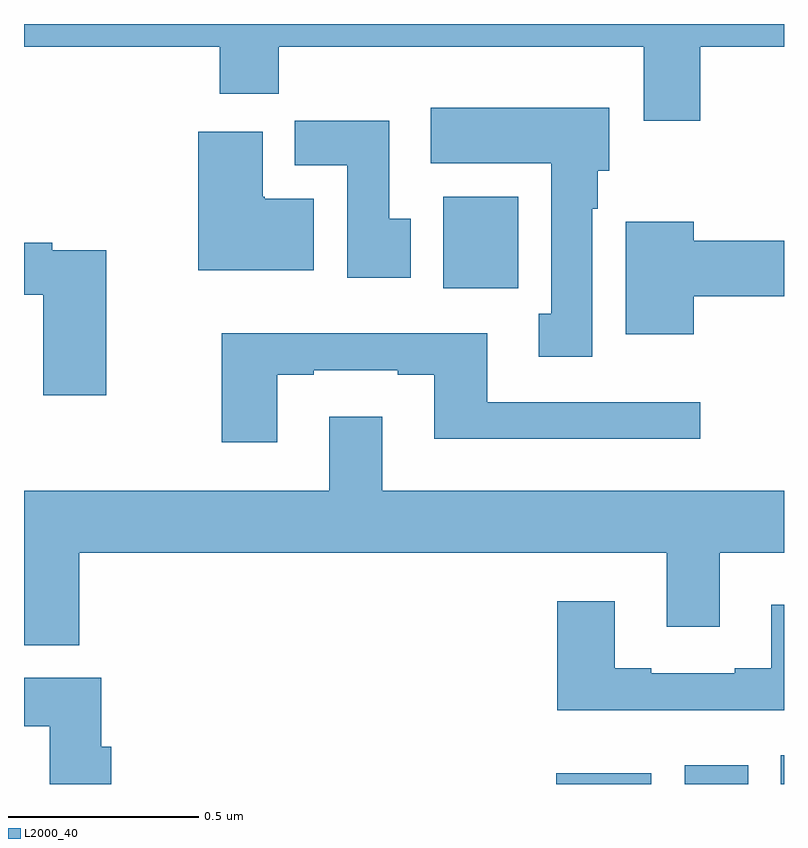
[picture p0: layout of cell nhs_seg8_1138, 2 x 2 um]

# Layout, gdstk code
import gdstk
lib = gdstk.Library(unit=1e-6, precision=1e-09)
def R(c, l, rs):  # rectangles x0, y0, x1, y1
    for r in rs: c.add(gdstk.rectangle(r[:2], r[2:], *l))
def P(c, l, *ps):  # polygons
    for p in ps: c.add(gdstk.Polygon(p, *l))
L2000_40 = (2000, 40)

nhs_seg8_1138 = lib.new_cell('nhs_seg8_1138')
R(nhs_seg8_1138, L2000_40, [(127.4,1107.9,127.651,1107.928), (127.739,1107.9,127.906,1107.949), (127.991,1107.9,128,1107.976), (127.103,1109.204,127.3,1109.446)])
P(nhs_seg8_1138, L2000_40, [(127.779,1109.84),(128,1109.84),(128,1109.9),(126,1109.9),(126,1109.84),(126.515,1109.84),(126.515,1109.716),(126.671,1109.716),(126.671,1109.84),(127.631,1109.84),(127.631,1109.646),(127.779,1109.646)],
  [(127.495,1109.414),(127.51,1109.414),(127.51,1109.514),(127.54,1109.514),(127.54,1109.68),(127.071,1109.68),(127.071,1109.534),(127.388,1109.534),(127.388,1109.138),(127.355,1109.138),(127.355,1109.025),(127.495,1109.025)],
  [(127.018,1109.388),(126.961,1109.388),(126.961,1109.646),(126.713,1109.646),(126.713,1109.528),(126.851,1109.528),(126.851,1109.232),(127.018,1109.232)],
  [(126.763,1109.44),(126.634,1109.44),(126.634,1109.446),(126.628,1109.446),(126.628,1109.617),(126.458,1109.617),(126.458,1109.252),(126.763,1109.252)],
  [(127.762,1109.183),(128,1109.183),(128,1109.33),(127.762,1109.33),(127.762,1109.38),(127.583,1109.38),(127.583,1109.084),(127.762,1109.084)],
  [(126.216,1109.304),(126.074,1109.304),(126.074,1109.324),(126,1109.324),(126,1109.188),(126.05,1109.188),(126.05,1108.923),(126.216,1108.923)],
  [(126.667,1108.977),(126.763,1108.977),(126.763,1108.989),(126.983,1108.989),(126.983,1108.977),(127.079,1108.977),(127.079,1108.808),(127.78,1108.808),(127.78,1108.905),(127.219,1108.905),(127.219,1109.086),(126.52,1109.086),(126.52,1108.8),(126.667,1108.8)],
  [(126.146,1108.508),(127.691,1108.508),(127.691,1108.314),(127.831,1108.314),(127.831,1108.508),(128,1108.508),(128,1108.672),(126.943,1108.672),(126.943,1108.867),(126.803,1108.867),(126.803,1108.672),(126,1108.672),(126,1108.265),(126.146,1108.265)],
  [(128,1108.372),(127.967,1108.372),(127.967,1108.204),(127.871,1108.204),(127.871,1108.191),(127.651,1108.191),(127.651,1108.204),(127.555,1108.204),(127.555,1108.381),(127.403,1108.381),(127.403,1108.094),(128,1108.094)],
  [(126.229,1107.998),(126.203,1107.998),(126.203,1108.18),(126,1108.18),(126,1108.052),(126.068,1108.052),(126.068,1107.9),(126.229,1107.9)])

lib.write_gds('nhs_seg8_1138.gds')
